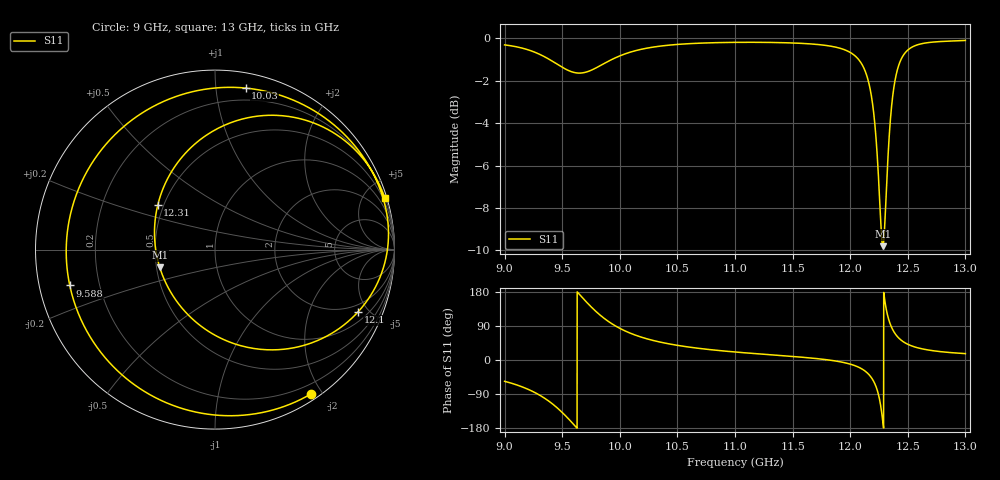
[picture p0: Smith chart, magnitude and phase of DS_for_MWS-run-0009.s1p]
! TOUCHSTONE file generated by CST DESIGN STUDIO
! Date and time: Wed Feb  5 13:35:25 2025
! Project name: C:\Work\MatlabApps\UnitCellOptimizationMatlab\CST\unitcell.cst
! Tree item: Tasks\Sweep1\SPara1\S-Parameters
! Header version: 2024
! Port assignment regex: !\s*Touchstone port\s*([0-9]+)\s*=\s*(CST MWS port|CST DES external port|CST DES block port)\s*(.+)\s* \(\"(.*)\"\)(\s*mode\s*([0-9]+))?.*
! Touchstone port assignment:
! Touchstone port 1 = CST DES external port 1 ("")
# GHz S MA R 50
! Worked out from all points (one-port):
!   4001 points, 9 GHz to 13 GHz, reference 50 ohm
!   lowest |S11| = -9.8 dB at 12.28 GHz (marker M1), VSWR 1.96, Z = 26 - j5.78 ohm
!   |S11| at or under -10 dB: nowhere
!   S11 on the Smith chart (normalised r, x): 9 GHz: 0.08, -1.87; 9.588 GHz: 0.09, -0.12; 10.03 GHz: 0.11, +1.20; 12.1 GHz: 1.52, -4.31; 12.31 GHz: 0.46, +0.27; 13 GHz: 0.25, +6.74
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9  0.9658 -56.2
9.16  0.9478 -71.8
9.311  0.9156 -94.0
9.41  0.8853 -114.6
9.5  0.8553 -138.5
9.588  0.8335 -166.2
9.684  0.8301 161.6
9.798  0.8534 126.7
9.891  0.8808 103.9
10  0.9097 83.6
10.028  0.916 79.3
10.234  0.9486 56.0
10.5  0.9682 38.7
11  0.9791 21.1
11.5  0.9758 9.4
12  0.927 -10.9
12.101  0.8697 -23.5
12.167  0.7737 -40.0
12.22  0.6012 -67.0
12.252  0.4352 -99.9
12.283  0.3233 -162.1
12.308  0.4034 142.3
12.34  0.5955 101.3
12.374  0.7491 77.3
12.431  0.8789 55.2
12.5  0.939 41.5
12.666  0.9769 27.0
13  0.9893 16.9
